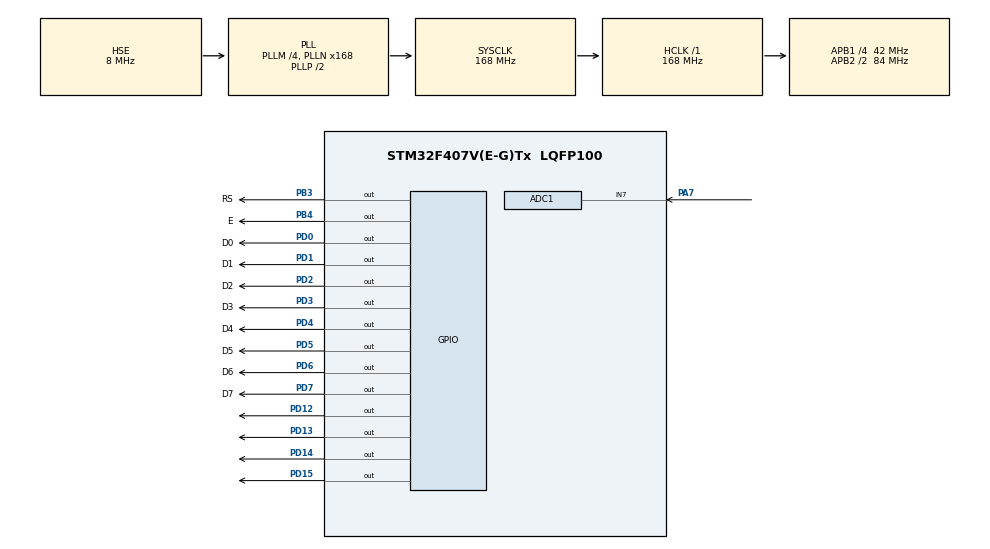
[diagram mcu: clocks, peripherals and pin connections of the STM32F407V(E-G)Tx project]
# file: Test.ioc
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ADC1.Channel-1\#ChannelRegularConversion=ADC_CHANNEL_7
ADC1.NbrOfConversionFlag=1
ADC1.Rank-1\#ChannelRegularConversion=1
ADC1.SamplingTime-1\#ChannelRegularConversion=ADC_SAMPLETIME_3CYCLES
ADC1.master=1
Mcu.Family=STM32F4
Mcu.Name=STM32F407V(E-G)Tx
Mcu.Package=LQFP100
NVIC.PriorityGroup=NVIC_PRIORITYGROUP_4
PA7.Signal=ADCx_IN7
PB3.GPIO_Label=RS
PB3.GPIO_Speed=GPIO_SPEED_FREQ_MEDIUM
PB3.Signal=GPIO_Output
PB4.GPIO_Label=E
PB4.GPIO_Speed=GPIO_SPEED_FREQ_MEDIUM
PB4.Signal=GPIO_Output
PD0.GPIO_Label=D0
PD0.GPIO_Speed=GPIO_SPEED_FREQ_MEDIUM
PD0.Signal=GPIO_Output
PD1.GPIO_Label=D1
PD1.GPIO_Speed=GPIO_SPEED_FREQ_MEDIUM
PD1.Signal=GPIO_Output
PD12.GPIO_Speed=GPIO_SPEED_FREQ_VERY_HIGH
PD12.Signal=GPIO_Output
PD13.GPIO_Speed=GPIO_SPEED_FREQ_VERY_HIGH
PD13.Signal=GPIO_Output
PD14.GPIO_Speed=GPIO_SPEED_FREQ_VERY_HIGH
PD14.Signal=GPIO_Output
PD15.GPIO_Speed=GPIO_SPEED_FREQ_VERY_HIGH
PD15.Signal=GPIO_Output
PD2.GPIO_Label=D2
PD2.GPIO_Speed=GPIO_SPEED_FREQ_MEDIUM
PD2.Signal=GPIO_Output
PD3.GPIO_Label=D3
PD3.GPIO_Speed=GPIO_SPEED_FREQ_MEDIUM
PD3.Signal=GPIO_Output
PD4.GPIO_Label=D4
PD4.GPIO_Speed=GPIO_SPEED_FREQ_MEDIUM
PD4.Signal=GPIO_Output
PD5.GPIO_Label=D5
PD5.GPIO_Speed=GPIO_SPEED_FREQ_MEDIUM
PD5.Signal=GPIO_Output
PD6.GPIO_Label=D6
PD6.GPIO_Speed=GPIO_SPEED_FREQ_MEDIUM
PD6.Signal=GPIO_Output
PD7.GPIO_Label=D7
PD7.GPIO_Speed=GPIO_SPEED_FREQ_MEDIUM
PD7.Signal=GPIO_Output
PH0-OSC_IN.Mode=HSE-External-Oscillator
PH0-OSC_IN.Signal=RCC_OSC_IN
PH1-OSC_OUT.Mode=HSE-External-Oscillator
PH1-OSC_OUT.Signal=RCC_OSC_OUT
ProjectManager.HeapSize=0x200
ProjectManager.StackSize=0x400
ProjectManager.TargetToolchain=STM32CubeIDE
RCC.48MHZClocksFreq_Value=84000000
RCC.AHBFreq_Value=168000000
RCC.APB1CLKDivider=RCC_HCLK_DIV4
RCC.APB1Freq_Value=42000000
RCC.APB1TimFreq_Value=84000000
RCC.APB2CLKDivider=RCC_HCLK_DIV2
RCC.APB2Freq_Value=84000000
RCC.APB2TimFreq_Value=168000000
RCC.CortexFreq_Value=168000000
RCC.HCLKFreq_Value=168000000
RCC.HSE_VALUE=8000000
RCC.HSI_VALUE=16000000
RCC.LSE_VALUE=32768
RCC.PLLM=4
RCC.PLLN=168
RCC.PLLSourceVirtual=RCC_PLLSOURCE_HSE
RCC.SYSCLKFreq_VALUE=168000000
RCC.SYSCLKSource=RCC_SYSCLKSOURCE_PLLCLK
RCC.VCOOutputFreq_Value=336000000
SH.ADCx_IN7.0=ADC1_IN7,IN7
board=custom

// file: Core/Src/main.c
/* USER CODE BEGIN Header */
/**
  ******************************************************************************
  * @file           : main.c
  * @brief          : Main program body
  ******************************************************************************
  * @attention
  *
  * Copyright (c) 2022 STMicroelectronics.
  * All rights reserved.
  *
  * This software is licensed under terms that can be found in the LICENSE file
  * in the root directory of this software component.
  * If no LICENSE file comes with this software, it is provided AS-IS.
  *
  ******************************************************************************
  */
/* USER CODE END Header */
#include "main.h"

/* USER CODE BEGIN Includes */
#include "lcd16x2.h"
/* USER CODE END Includes */

ADC_HandleTypeDef hadc1;

/* USER CODE BEGIN PV */
uint16_t angle;
uint16_t fire_angle;
uint16_t adc_value;

/* USER CODE END PV */

void SystemClock_Config(void);
static void MX_GPIO_Init(void);
static void MX_ADC1_Init(void);

/* USER CODE BEGIN 0 */
uint16_t Read_ADC(){
	HAL_ADC_Start(&hadc1);
	if(HAL_ADC_PollForConversion(&hadc1, 100000) == HAL_OK){
		adc_value = HAL_ADC_GetValue(&hadc1);
	}
	HAL_ADC_Stop(&hadc1);
}
/* USER CODE END 0 */

int main(void)
{

  /* MCU Configuration--------------------------------------------------------*/

  /* Reset of all peripherals, Initializes the Flash interface and the Systick. */
  HAL_Init();

  /* Configure the system clock */
  SystemClock_Config();

  /* Initialize all configured peripherals */
  MX_GPIO_Init();
  MX_ADC1_Init();
  /* USER CODE BEGIN 2 */

  lcd16x2_init_4bits(RS_GPIO_Port, RS_Pin, E_Pin, D4_GPIO_Port, D4_Pin, D5_Pin, D6_Pin, D7_Pin);
  lcd16x2_cursorShow(false);
  lcd16x2_printf("ATESLEME SISTEMI");
  lcd16x2_2ndLine();
  lcd16x2_printf("      MUSA");

  HAL_Delay(1000);
  /* USER CODE END 2 */

  /* Infinite loop */
  while (1)
  {

    /* USER CODE BEGIN 3 */
	  Read_ADC();
	  HAL_GPIO_WritePin(GPIOD, GPIO_PIN_12  , GPIO_PIN_SET);
	  fire_angle = 30* adc_value /4095;

	  if (angle == 360) angle = 0;

	  if(angle == fire_angle){
		  lcd16x2_clear();
		  lcd16x2_printf("ATESS");
		  HAL_GPIO_WritePin(GPIOD, GPIO_PIN_13 , GPIO_PIN_SET);
		  HAL_GPIO_WritePin(GPIOD, GPIO_PIN_12  , GPIO_PIN_RESET);
		  HAL_Delay(250);
		  HAL_GPIO_WritePin(GPIOD, GPIO_PIN_12 , GPIO_PIN_SET);
		  HAL_GPIO_WritePin(GPIOD, GPIO_PIN_13  , GPIO_PIN_RESET);
	  }
	  lcd16x2_1stLine();
	  lcd16x2_printf("Krank Acisi %d",angle);
	  lcd16x2_2ndLine();
	  lcd16x2_printf("Avans Aci %d",fire_angle);
	  HAL_Delay(40);
	  angle+=2;
	  lcd16x2_clear();

	 /* HAL_GPIO_WritePin(GPIOD, GPIO_PIN_12 |GPIO_PIN_13 |GPIO_PIN_14 |GPIO_PIN_15 , GPIO_PIN_SET);
	  HAL_Delay(1000);
	  HAL_GPIO_WritePin(GPIOD, GPIO_PIN_12 |GPIO_PIN_13 |GPIO_PIN_14 |GPIO_PIN_15 , GPIO_PIN_RESET);
	  HAL_Delay(1000);*/
  }
  /* USER CODE END 3 */
}

void SystemClock_Config(void)
{
  RCC_OscInitTypeDef RCC_OscInitStruct = {0};
  RCC_ClkInitTypeDef RCC_ClkInitStruct = {0};

  /** Configure the main internal regulator output voltage
  */
  __HAL_RCC_PWR_CLK_ENABLE();
  __HAL_PWR_VOLTAGESCALING_CONFIG(PWR_REGULATOR_VOLTAGE_SCALE1);

  /** Initializes the RCC Oscillators according to the specified parameters
  * in the RCC_OscInitTypeDef structure.
  */
  RCC_OscInitStruct.OscillatorType = RCC_OSCILLATORTYPE_HSE;
  RCC_OscInitStruct.HSEState = RCC_HSE_ON;
  RCC_OscInitStruct.PLL.PLLState = RCC_PLL_ON;
  RCC_OscInitStruct.PLL.PLLSource = RCC_PLLSOURCE_HSE;
  RCC_OscInitStruct.PLL.PLLM = 4;
  RCC_OscInitStruct.PLL.PLLN = 168;
  RCC_OscInitStruct.PLL.PLLP = RCC_PLLP_DIV2;
  RCC_OscInitStruct.PLL.PLLQ = 4;
  if (HAL_RCC_OscConfig(&RCC_OscInitStruct) != HAL_OK)
  {
    Error_Handler();
  }

  /** Initializes the CPU, AHB and APB buses clocks
  */
  RCC_ClkInitStruct.ClockType = RCC_CLOCKTYPE_HCLK|RCC_CLOCKTYPE_SYSCLK
                              |RCC_CLOCKTYPE_PCLK1|RCC_CLOCKTYPE_PCLK2;
  RCC_ClkInitStruct.SYSCLKSource = RCC_SYSCLKSOURCE_PLLCLK;
  RCC_ClkInitStruct.AHBCLKDivider = RCC_SYSCLK_DIV1;
  RCC_ClkInitStruct.APB1CLKDivider = RCC_HCLK_DIV4;
  RCC_ClkInitStruct.APB2CLKDivider = RCC_HCLK_DIV2;

  if (HAL_RCC_ClockConfig(&RCC_ClkInitStruct, FLASH_LATENCY_5) != HAL_OK)
  {
    Error_Handler();
  }
}

static void MX_ADC1_Init(void)
{

  ADC_ChannelConfTypeDef sConfig = {0};

  /** Configure the global features of the ADC (Clock, Resolution, Data Alignment and number of conversion)
  */
  hadc1.Instance = ADC1;
  hadc1.Init.ClockPrescaler = ADC_CLOCK_SYNC_PCLK_DIV4;
  hadc1.Init.Resolution = ADC_RESOLUTION_12B;
  hadc1.Init.ScanConvMode = DISABLE;
  hadc1.Init.ContinuousConvMode = DISABLE;
  hadc1.Init.DiscontinuousConvMode = DISABLE;
  hadc1.Init.ExternalTrigConvEdge = ADC_EXTERNALTRIGCONVEDGE_NONE;
  hadc1.Init.ExternalTrigConv = ADC_SOFTWARE_START;
  hadc1.Init.DataAlign = ADC_DATAALIGN_RIGHT;
  hadc1.Init.NbrOfConversion = 1;
  hadc1.Init.DMAContinuousRequests = DISABLE;
  hadc1.Init.EOCSelection = ADC_EOC_SINGLE_CONV;
  if (HAL_ADC_Init(&hadc1) != HAL_OK)
  {
    Error_Handler();
  }

  /** Configure for the selected ADC regular channel its corresponding rank in the sequencer and its sample time.
  */
  sConfig.Channel = ADC_CHANNEL_7;
  sConfig.Rank = 1;
  sConfig.SamplingTime = ADC_SAMPLETIME_3CYCLES;
  if (HAL_ADC_ConfigChannel(&hadc1, &sConfig) != HAL_OK)
  {
    Error_Handler();
  }

}

static void MX_GPIO_Init(void)
{
  GPIO_InitTypeDef GPIO_InitStruct = {0};

  /* GPIO Ports Clock Enable */
  __HAL_RCC_GPIOH_CLK_ENABLE();
  __HAL_RCC_GPIOA_CLK_ENABLE();
  __HAL_RCC_GPIOD_CLK_ENABLE();
  __HAL_RCC_GPIOB_CLK_ENABLE();

  /*Configure GPIO pin Output Level */
  HAL_GPIO_WritePin(GPIOD, GPIO_PIN_12|GPIO_PIN_13|GPIO_PIN_14|GPIO_PIN_15
                          |D0_Pin|D1_Pin|D2_Pin|D3_Pin
                          |D4_Pin|D5_Pin|D6_Pin|D7_Pin, GPIO_PIN_RESET);

  /*Configure GPIO pin Output Level */
  HAL_GPIO_WritePin(GPIOB, RS_Pin|E_Pin, GPIO_PIN_RESET);

  /*Configure GPIO pins : PD12 PD13 PD14 PD15 */
  GPIO_InitStruct.Pin = GPIO_PIN_12|GPIO_PIN_13|GPIO_PIN_14|GPIO_PIN_15;
  GPIO_InitStruct.Mode = GPIO_MODE_OUTPUT_PP;
  GPIO_InitStruct.Pull = GPIO_NOPULL;
  GPIO_InitStruct.Speed = GPIO_SPEED_FREQ_VERY_HIGH;
  HAL_GPIO_Init(GPIOD, &GPIO_InitStruct);

  /*Configure GPIO pins : D0_Pin D1_Pin D2_Pin D3_Pin
                           D4_Pin D5_Pin D6_Pin D7_Pin */
  GPIO_InitStruct.Pin = D0_Pin|D1_Pin|D2_Pin|D3_Pin
                          |D4_Pin|D5_Pin|D6_Pin|D7_Pin;
  GPIO_InitStruct.Mode = GPIO_MODE_OUTPUT_PP;
  GPIO_InitStruct.Pull = GPIO_NOPULL;
  GPIO_InitStruct.Speed = GPIO_SPEED_FREQ_MEDIUM;
  HAL_GPIO_Init(GPIOD, &GPIO_InitStruct);

  /*Configure GPIO pins : RS_Pin E_Pin */
  GPIO_InitStruct.Pin = RS_Pin|E_Pin;
  GPIO_InitStruct.Mode = GPIO_MODE_OUTPUT_PP;
  GPIO_InitStruct.Pull = GPIO_NOPULL;
  GPIO_InitStruct.Speed = GPIO_SPEED_FREQ_MEDIUM;
  HAL_GPIO_Init(GPIOB, &GPIO_InitStruct);

}

void Error_Handler(void)
{
  __disable_irq();
  while (1)
  {
  }
}
